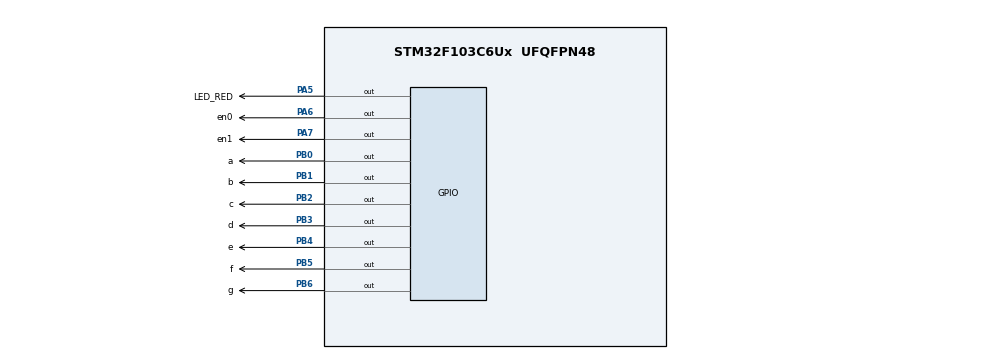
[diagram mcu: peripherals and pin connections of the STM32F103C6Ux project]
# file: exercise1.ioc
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Mcu.Family=STM32F1
Mcu.Name=STM32F103C6Ux
Mcu.Package=UFQFPN48
NVIC.PriorityGroup=NVIC_PRIORITYGROUP_4
NVIC.TIM2_IRQn=true\:0\:0\:false\:false\:true\:true\:true
PA13.Mode=Serial_Wire
PA13.Signal=SYS_JTMS-SWDIO
PA14.Mode=Serial_Wire
PA14.Signal=SYS_JTCK-SWCLK
PA5.GPIO_Label=LED_RED
PA5.Signal=GPIO_Output
PA6.GPIO_Label=en0
PA6.Signal=GPIO_Output
PA7.GPIO_Label=en1
PA7.Signal=GPIO_Output
PB0.GPIO_Label=a
PB0.Signal=GPIO_Output
PB1.GPIO_Label=b
PB1.Signal=GPIO_Output
PB2.GPIO_Label=c
PB2.Signal=GPIO_Output
PB3.GPIO_Label=d
PB3.Signal=GPIO_Output
PB4.GPIO_Label=e
PB4.Signal=GPIO_Output
PB5.GPIO_Label=f
PB5.Signal=GPIO_Output
PB6.GPIO_Label=g
PB6.Signal=GPIO_Output
ProjectManager.HeapSize=0x200
ProjectManager.StackSize=0x400
ProjectManager.TargetToolchain=STM32CubeIDE
RCC.APB1Freq_Value=8000000
RCC.APB2Freq_Value=8000000
TIM2.Period=9
TIM2.Prescaler=7999
VP_TIM2_VS_ClockSourceINT.Mode=Internal
board=custom

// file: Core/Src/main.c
/* USER CODE BEGIN Header */
/**
  ******************************************************************************
  * @file           : main.c
  * @brief          : Main program body
  ******************************************************************************
  * @attention
  *
  * <h2><center>&copy; Copyright (c) 2026 STMicroelectronics.
  * All rights reserved.</center></h2>
  *
  * This software component is licensed by ST under BSD 3-Clause license,
  * the "License"; You may not use this file except in compliance with the
  * License. You may obtain a copy of the License at:
  *                        opensource.org/licenses/BSD-3-Clause
  *
  ******************************************************************************
  */
/* USER CODE END Header */
#include "main.h"
#include "software.h"

TIM_HandleTypeDef htim2;

void SystemClock_Config(void);
static void MX_GPIO_Init(void);
static void MX_TIM2_Init(void);

/* USER CODE BEGIN 0 */
void display7SEG(int num) {
	if (num < 0 || num > 9) return;
	    // Bảng trạng thái trực tiếp của 7 nét (a, b, c, d, e, f, g)
	    // Mức 0 = Sáng, Mức 1 = Tắt
	    const GPIO_PinState led_map[10][7] = {
	        {0, 0, 0, 0, 0, 0, 1}, // Số 0 (Chỉ tắt nét g)
	        {1, 0, 0, 1, 1, 1, 1}, // Số 1 (Chỉ sáng b, c)
	        {0, 0, 1, 0, 0, 1, 0}, // Số 2
	        {0, 0, 0, 0, 1, 1, 0}, // Số 3
	        {1, 0, 0, 1, 1, 0, 0}, // Số 4
	        {0, 1, 0, 0, 1, 0, 0}, // Số 5
	        {0, 1, 0, 0, 0, 0, 0}, // Số 6
	        {0, 0, 0, 1, 1, 1, 1}, // Số 7
	        {0, 0, 0, 0, 0, 0, 0}, // Số 8 (Sáng tất cả)
	        {0, 0, 0, 0, 1, 0, 0}  // Số 9
	    };

	    // Xuất thẳng trạng thái từ mảng ra các chân GPIO
	    HAL_GPIO_WritePin(a_GPIO_Port, a_Pin, led_map[num][0]);
	    HAL_GPIO_WritePin(b_GPIO_Port, b_Pin, led_map[num][1]);
	    HAL_GPIO_WritePin(c_GPIO_Port, c_Pin, led_map[num][2]);
	    HAL_GPIO_WritePin(d_GPIO_Port, d_Pin, led_map[num][3]);
	    HAL_GPIO_WritePin(e_GPIO_Port, e_Pin, led_map[num][4]);
	    HAL_GPIO_WritePin(f_GPIO_Port, f_Pin, led_map[num][5]);
	    HAL_GPIO_WritePin(g_GPIO_Port, g_Pin, led_map[num][6]);

}
/* USER CODE END 0 */

int main(void)
{

  /* MCU Configuration--------------------------------------------------------*/

  /* Reset of all peripherals, Initializes the Flash interface and the Systick. */
  HAL_Init();

  /* Configure the system clock */
  SystemClock_Config();

  /* Initialize all configured peripherals */
  MX_GPIO_Init();
  MX_TIM2_Init();
  /* USER CODE BEGIN 2 */
  HAL_TIM_Base_Start_IT(&htim2);
  /* USER CODE END 2 */
  setTimer1(50);
  /* Infinite loop */
    while (1)
    {

    }
}

void SystemClock_Config(void)
{
  RCC_OscInitTypeDef RCC_OscInitStruct = {0};
  RCC_ClkInitTypeDef RCC_ClkInitStruct = {0};

  /** Initializes the RCC Oscillators according to the specified parameters
  * in the RCC_OscInitTypeDef structure.
  */
  RCC_OscInitStruct.OscillatorType = RCC_OSCILLATORTYPE_HSI;
  RCC_OscInitStruct.HSIState = RCC_HSI_ON;
  RCC_OscInitStruct.HSICalibrationValue = RCC_HSICALIBRATION_DEFAULT;
  RCC_OscInitStruct.PLL.PLLState = RCC_PLL_NONE;
  if (HAL_RCC_OscConfig(&RCC_OscInitStruct) != HAL_OK)
  {
    Error_Handler();
  }
  /** Initializes the CPU, AHB and APB buses clocks
  */
  RCC_ClkInitStruct.ClockType = RCC_CLOCKTYPE_HCLK|RCC_CLOCKTYPE_SYSCLK
                              |RCC_CLOCKTYPE_PCLK1|RCC_CLOCKTYPE_PCLK2;
  RCC_ClkInitStruct.SYSCLKSource = RCC_SYSCLKSOURCE_HSI;
  RCC_ClkInitStruct.AHBCLKDivider = RCC_SYSCLK_DIV1;
  RCC_ClkInitStruct.APB1CLKDivider = RCC_HCLK_DIV1;
  RCC_ClkInitStruct.APB2CLKDivider = RCC_HCLK_DIV1;

  if (HAL_RCC_ClockConfig(&RCC_ClkInitStruct, FLASH_LATENCY_0) != HAL_OK)
  {
    Error_Handler();
  }
}

static void MX_TIM2_Init(void)
{

  TIM_ClockConfigTypeDef sClockSourceConfig = {0};
  TIM_MasterConfigTypeDef sMasterConfig = {0};

  htim2.Instance = TIM2;
  htim2.Init.Prescaler = 7999;
  htim2.Init.CounterMode = TIM_COUNTERMODE_UP;
  htim2.Init.Period = 9;
  htim2.Init.ClockDivision = TIM_CLOCKDIVISION_DIV1;
  htim2.Init.AutoReloadPreload = TIM_AUTORELOAD_PRELOAD_DISABLE;
  if (HAL_TIM_Base_Init(&htim2) != HAL_OK)
  {
    Error_Handler();
  }
  sClockSourceConfig.ClockSource = TIM_CLOCKSOURCE_INTERNAL;
  if (HAL_TIM_ConfigClockSource(&htim2, &sClockSourceConfig) != HAL_OK)
  {
    Error_Handler();
  }
  sMasterConfig.MasterOutputTrigger = TIM_TRGO_RESET;
  sMasterConfig.MasterSlaveMode = TIM_MASTERSLAVEMODE_DISABLE;
  if (HAL_TIMEx_MasterConfigSynchronization(&htim2, &sMasterConfig) != HAL_OK)
  {
    Error_Handler();
  }

}

static void MX_GPIO_Init(void)
{
  GPIO_InitTypeDef GPIO_InitStruct = {0};

  /* GPIO Ports Clock Enable */
  __HAL_RCC_GPIOA_CLK_ENABLE();
  __HAL_RCC_GPIOB_CLK_ENABLE();

  /*Configure GPIO pin Output Level */
  HAL_GPIO_WritePin(GPIOA, LED_RED_Pin|en0_Pin|en1_Pin, GPIO_PIN_RESET);

  /*Configure GPIO pin Output Level */
  HAL_GPIO_WritePin(GPIOB, a_Pin|b_Pin|c_Pin|d_Pin
                          |e_Pin|f_Pin|g_Pin, GPIO_PIN_RESET);

  /*Configure GPIO pins : LED_RED_Pin en0_Pin en1_Pin */
  GPIO_InitStruct.Pin = LED_RED_Pin|en0_Pin|en1_Pin;
  GPIO_InitStruct.Mode = GPIO_MODE_OUTPUT_PP;
  GPIO_InitStruct.Pull = GPIO_NOPULL;
  GPIO_InitStruct.Speed = GPIO_SPEED_FREQ_LOW;
  HAL_GPIO_Init(GPIOA, &GPIO_InitStruct);

  /*Configure GPIO pins : a_Pin b_Pin c_Pin d_Pin
                           e_Pin f_Pin g_Pin */
  GPIO_InitStruct.Pin = a_Pin|b_Pin|c_Pin|d_Pin
                          |e_Pin|f_Pin|g_Pin;
  GPIO_InitStruct.Mode = GPIO_MODE_OUTPUT_PP;
  GPIO_InitStruct.Pull = GPIO_NOPULL;
  GPIO_InitStruct.Speed = GPIO_SPEED_FREQ_LOW;
  HAL_GPIO_Init(GPIOB, &GPIO_InitStruct);

}

/* USER CODE BEGIN 4 */
static int led_idx = 0; // Khai báo biến đếm toàn cục (hoặc khai báo ở phần USER CODE BEGIN PV đầu file)

void HAL_TIM_PeriodElapsedCallback(TIM_HandleTypeDef *htim)
{
    if (htim->Instance == TIM2)
    {
        timerRun();

        // TODO
        if (timer1_flag == 1) {
            setTimer1(50); // Đặt lại thời gian quét

            // Nhấp nháy LED đỏ (Toggle)[cite: 3]
            HAL_GPIO_TogglePin(GPIOA, LED_RED_Pin);

            if (led_idx == 0) {
                display7SEG(1);

                // Bật EN0, tắt EN1 (Mức RESET = Bật, SET = Tắt)
                HAL_GPIO_WritePin(en0_GPIO_Port, en0_Pin, GPIO_PIN_RESET);
                HAL_GPIO_WritePin(en1_GPIO_Port, en1_Pin, GPIO_PIN_SET);
            }
            else {
                display7SEG(2);

                // Tắt EN0, bật EN1[cite: 3]
                HAL_GPIO_WritePin(en0_GPIO_Port, en0_Pin, GPIO_PIN_SET);
                HAL_GPIO_WritePin(en1_GPIO_Port, en1_Pin, GPIO_PIN_RESET);
            }

            // Đảo trạng thái led_idx giữa 0 và 1 một cách gọn gàng
            led_idx = 1 - led_idx;
        }
    }
}

/* USER CODE END 4 */

void Error_Handler(void)
{
  __disable_irq();
  while (1)
  {
  }
}

/************************ (C) COPYRIGHT STMicroelectronics *****END OF FILE****/
